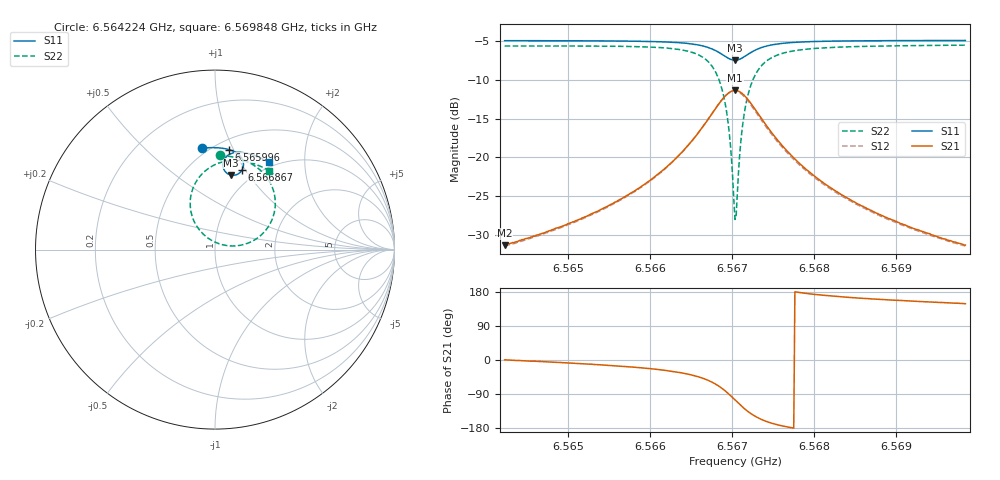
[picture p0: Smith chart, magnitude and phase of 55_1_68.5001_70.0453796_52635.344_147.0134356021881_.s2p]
#  HZ  S  RI  R  50.00
! Rohde & Schwarz Vector Network Analyzer
! Rohde-Schwarz,ZNB20-2Port,1311601062101988,3.16
! Created: UTC 3/20/2024, 5:06:09 PM
! freq[Hz]  re:S11  im:S11  re:S21  im:S21  re:S12  im:S12  re:S22  im:S22
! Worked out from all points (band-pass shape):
!   401 points, 6.564224 GHz to 6.569848 GHz, reference 50 ohm
!   highest |S21| = -11.34 dB at 6.567036 GHz (marker M1); lowest = -31.4 dB at 6.564224 GHz (marker M2)
!   |S21| within 3 dB of the highest: 6.566755 GHz to 6.567318 GHz (562.4 kHz wide, 0.00856 % of centre)
!   lowest |S11| = -7.4 dB at 6.567036 GHz (marker M3), VSWR 2.48, Z = 40.9 + j41.4 ohm
!   |S11| at or under -10 dB: nowhere
!   |S22| runs from -28.0 to -5.5 dB; largest |S21 - S12| = 0.013
!   S11 on the Smith chart (normalised r, x): 6.564224 GHz: 0.46, +0.77; 6.565996 GHz: 0.59, +0.96; 6.566867 GHz: 0.85, +0.97; 6.569848 GHz: 0.93, +1.34
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6.5642242e9  -0.073 0.5643  0.0271 6.92e-05  0.0266 -0.000316  0.0262 0.5247
6.5651661e9  0.0036 0.5678  0.0399 -0.00681  0.0391 -0.00746  0.1138 0.5129
6.5659956e9  0.0796 0.5566  0.0652 -0.0272  0.0643 -0.0282  0.217 0.4696
6.566108e9  0.0912 0.5527  0.0711 -0.0338  0.07 -0.0345  0.2354 0.4568
6.5664173e9  0.1261 0.534  0.0916 -0.0649  0.0901 -0.0662  0.2938 0.3952
6.5666423e9  0.1516 0.504  0.1052 -0.1173  0.1029 -0.1194  0.3334 0.2941
6.5667688e9  0.1586 0.4737  0.0982 -0.1701  0.0941 -0.1731  0.327 0.1935
6.5668672e9  0.1505 0.4431  0.0668 -0.2224  0.0597 -0.2252  0.2717 0.0955
6.5669094e9  0.1407 0.4304  0.0417 -0.2435  0.0328 -0.2453  0.2259 0.0572
6.5669516e9  0.1264 0.4202  0.00851 -0.2593  -0.00172 -0.2593  0.1654 0.0299
6.5669797e9  0.1147 0.4159  -0.0172 -0.2651  -0.0281 -0.2634  0.1191 0.0211
6.5670219e9  0.0955 0.4145  -0.0584 -0.2642  -0.0695 -0.2598  0.0458 0.0261
6.5670359e9  0.089 0.4155  -0.072 -0.2612  -0.0828 -0.2556  0.0221 0.0329
6.5670641e9  0.0767 0.4195  -0.0982 -0.2512  -0.1081 -0.244  -0.0224 0.0534
6.5671062e9  0.061 0.4304  -0.1314 -0.2279  -0.1393 -0.2185  -0.0774 0.0985
6.5671484e9  0.0503 0.445  -0.1552 -0.1985  -0.1606 -0.1879  -0.1144 0.1532
6.5672046e9  0.0441 0.466  -0.1721 -0.1568  -0.1741 -0.1464  -0.1364 0.2279
6.5672749e9  0.0463 0.4895  -0.1747 -0.1108  -0.174 -0.1019  -0.1327 0.308
6.567528e9  0.0846 0.5327  -0.1325 -0.0246  -0.1297 -0.0207  -0.0367 0.4522
6.5679779e9  0.1452 0.5423  -0.0772 0.00838  -0.0754 0.00933  0.0912 0.4969
6.5689198e9  0.2313 0.5202  -0.0372 0.0146  -0.0365 0.0149  0.2208 0.4778
6.5698477e9  0.2989 0.4864  -0.0231 0.0141  -0.0226 0.0141  0.2997 0.44
